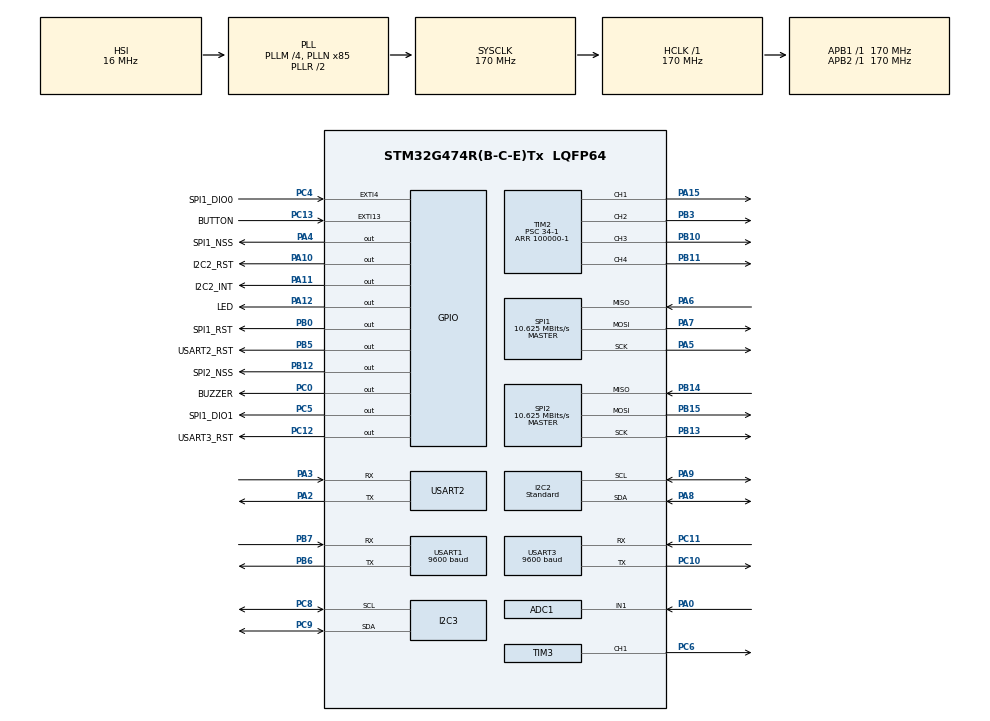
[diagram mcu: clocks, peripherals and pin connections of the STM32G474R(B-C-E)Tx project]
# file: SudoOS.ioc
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ADC1.NbrOfConversionFlag=1
ADC1.master=1
FATFS._MAX_SS=4096
FATFS._USE_LFN=2
FREERTOS.BinarySemaphores01=myBinarySem01,Dynamic,NULL
FREERTOS.Queues01=myQueue01,16,uint16_t,0,Dynamic,NULL,NULL
FREERTOS.Tasks01=motorControl,48,512,motorControlEntry,Default,NULL,Dynamic,NULL,NULL;runCommand,49,256,runCommandEntry,Default,NULL,Dynamic,NULL,NULL;sendToGround,24,512,sendToGroundEntry,Default,NULL,Dynamic,NULL,NULL;checkState,40,512,checkStateEntry,Default,NULL,Dynamic,NULL,NULL;someLoop,53,512,someLoopEntry,Default,NULL,Dynamic,NULL,NULL;sd_IO,54,1024,sd_IOEntry,Default,NULL,Dynamic,NULL,NULL
FREERTOS.configTOTAL_HEAP_SIZE=16000
FREERTOS.configUSE_NEWLIB_REENTRANT=1
I2C2.I2C_Speed_Mode=I2C_Standard
I2C2.Timing=0x30A0A7FB
I2C3.Timing=0x30A0A7FB
Mcu.Family=STM32G4
Mcu.Name=STM32G474R(B-C-E)Tx
Mcu.Package=LQFP64
NVIC.EXTI15_10_IRQn=true\:5\:0\:false\:false\:true\:true\:true\:true\:true
NVIC.I2C2_EV_IRQn=true\:5\:0\:false\:false\:true\:true\:true\:true\:true
NVIC.I2C3_EV_IRQn=true\:5\:0\:false\:false\:true\:true\:true\:true\:true
NVIC.PriorityGroup=NVIC_PRIORITYGROUP_4
NVIC.TIM6_DAC_IRQn=true\:15\:0\:false\:false\:true\:false\:false\:true\:true
NVIC.TimeBase=TIM6_DAC_IRQn
NVIC.TimeBaseIP=TIM6
NVIC.USART1_IRQn=true\:5\:0\:false\:false\:true\:true\:true\:true\:true
NVIC.USART2_IRQn=true\:5\:0\:false\:false\:true\:true\:true\:true\:true
NVIC.USART3_IRQn=true\:5\:0\:false\:false\:true\:true\:true\:true\:true
PA0.Mode=IN1-Single-Ended
PA0.Signal=ADC1_IN1
PA10.GPIO_Label=I2C2_RST
PA10.Signal=GPIO_Output
PA11.GPIO_Label=I2C2_INT
PA11.Signal=GPIO_Output
PA12.GPIO_Label=LED
PA12.Signal=GPIO_Output
PA13.Mode=Serial_Wire
PA13.Signal=SYS_JTMS-SWDIO
PA14.Mode=Serial_Wire
PA14.Signal=SYS_JTCK-SWCLK
PA15.Signal=S_TIM2_CH1
PA2.Mode=Asynchronous
PA2.Signal=USART2_TX
PA3.Mode=Asynchronous
PA3.Signal=USART2_RX
PA4.GPIO_Label=SPI1_NSS
PA4.PinState=GPIO_PIN_RESET
PA4.Signal=GPIO_Output
PA5.Mode=Full_Duplex_Master
PA5.Signal=SPI1_SCK
PA6.Mode=Full_Duplex_Master
PA6.Signal=SPI1_MISO
PA7.Mode=Full_Duplex_Master
PA7.Signal=SPI1_MOSI
PA8.Mode=I2C
PA8.Signal=I2C2_SDA
PA9.Mode=I2C
PA9.Signal=I2C2_SCL
PB0.GPIO_Label=SPI1_RST
PB0.PinState=GPIO_PIN_RESET
PB0.Signal=GPIO_Output
PB10.Signal=S_TIM2_CH3
PB11.Signal=S_TIM2_CH4
PB12.GPIO_Label=SPI2_NSS
PB12.Signal=GPIO_Output
PB13.Mode=Full_Duplex_Master
PB13.Signal=SPI2_SCK
PB14.Mode=Full_Duplex_Master
PB14.Signal=SPI2_MISO
PB15.Mode=Full_Duplex_Master
PB15.Signal=SPI2_MOSI
PB3.Signal=S_TIM2_CH2
PB5.GPIO_Label=USART2_RST
PB5.Signal=GPIO_Output
PB6.Mode=Asynchronous
PB6.Signal=USART1_TX
PB7.Mode=Asynchronous
PB7.Signal=USART1_RX
PC0.GPIO_Label=BUZZER
PC0.Signal=GPIO_Output
PC10.Mode=Asynchronous
PC10.Signal=USART3_TX
PC11.Mode=Asynchronous
PC11.Signal=USART3_RX
PC12.GPIO_Label=USART3_RST
PC12.Signal=GPIO_Output
PC13.GPIO_Label=BUTTON
PC13.Signal=GPXTI13
PC4.GPIO_Label=SPI1_DIO0
PC4.Signal=GPXTI4
PC5.GPIO_Label=SPI1_DIO1
PC5.Signal=GPIO_Output
PC6.Signal=S_TIM3_CH1
PC8.Mode=I2C
PC8.Signal=I2C3_SCL
PC9.Mode=I2C
PC9.Signal=I2C3_SDA
PF0-OSC_IN.Mode=HSE-External-Oscillator
PF0-OSC_IN.Signal=RCC_OSC_IN
PF1-OSC_OUT.Mode=HSE-External-Oscillator
PF1-OSC_OUT.Signal=RCC_OSC_OUT
ProjectManager.HeapSize=0x200
ProjectManager.StackSize=0x400
ProjectManager.TargetToolchain=STM32CubeIDE
RCC.ADC12Freq_Value=170000000
RCC.ADC345Freq_Value=170000000
RCC.AHBFreq_Value=170000000
RCC.APB1Freq_Value=170000000
RCC.APB1TimFreq_Value=170000000
RCC.APB2Freq_Value=170000000
RCC.APB2TimFreq_Value=170000000
RCC.CortexFreq_Value=170000000
RCC.EXTERNAL_CLOCK_VALUE=12288000
RCC.HCLKFreq_Value=170000000
RCC.HSE_VALUE=8000000
RCC.HSI48_VALUE=48000000
RCC.HSI_VALUE=16000000
RCC.LSE_VALUE=32768
RCC.PLLM=RCC_PLLM_DIV4
RCC.PLLN=85
RCC.SYSCLKFreq_VALUE=170000000
RCC.SYSCLKSource=RCC_SYSCLKSOURCE_PLLCLK
RCC.USBFreq_Value=170000000
RCC.VCOOutputFreq_Value=340000000
SH.S_TIM2_CH1.0=TIM2_CH1,PWM Generation1 CH1
SH.S_TIM2_CH2.0=TIM2_CH2,PWM Generation2 CH2
SH.S_TIM2_CH3.0=TIM2_CH3,PWM Generation3 CH3
SH.S_TIM2_CH4.0=TIM2_CH4,PWM Generation4 CH4
SH.S_TIM3_CH1.0=TIM3_CH1,PWM Generation1 CH1
SPI1.BaudRatePrescaler=SPI_BAUDRATEPRESCALER_16
SPI1.CalculateBaudRate=10.625 MBits/s
SPI1.DataSize=SPI_DATASIZE_8BIT
SPI1.Direction=SPI_DIRECTION_2LINES
SPI1.Mode=SPI_MODE_MASTER
SPI1.VirtualType=VM_MASTER
SPI2.BaudRatePrescaler=SPI_BAUDRATEPRESCALER_16
SPI2.CalculateBaudRate=10.625 MBits/s
SPI2.DataSize=SPI_DATASIZE_8BIT
SPI2.Direction=SPI_DIRECTION_2LINES
SPI2.Mode=SPI_MODE_MASTER
SPI2.VirtualType=VM_MASTER
TIM2.Channel-PWM\ Generation1\ CH1=TIM_CHANNEL_1
TIM2.Channel-PWM\ Generation2\ CH2=TIM_CHANNEL_2
TIM2.Channel-PWM\ Generation3\ CH3=TIM_CHANNEL_3
TIM2.Channel-PWM\ Generation4\ CH4=TIM_CHANNEL_4
TIM2.PeriodNoDither=100000-1
TIM2.Prescaler=34-1
TIM3.Channel-PWM\ Generation1\ CH1=TIM_CHANNEL_1
TIM3.PeriodNoDither=10000-1
TIM3.Prescaler=340-1
USART1.BaudRate=9600
USART1.VirtualMode-Asynchronous=VM_ASYNC
USART2.VirtualMode-Asynchronous=VM_ASYNC
USART3.BaudRate=9600
USART3.VirtualMode-Asynchronous=VM_ASYNC
VP_FATFS_VS_Generic.Mode=User_defined
VP_FREERTOS_VS_CMSIS_V2.Mode=CMSIS_V2
VP_SYS_VS_DBSignals.Mode=DisableDeadBatterySignals
VP_SYS_VS_tim6.Mode=TIM6
VP_TIM2_VS_ClockSourceINT.Mode=Internal
VP_TIM3_VS_ClockSourceINT.Mode=Internal
board=custom

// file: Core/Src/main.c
/* USER CODE BEGIN Header */

/*
            YILDIZ ROCKET TEAM
  SUDO Main Flight Control Computer

        Dogukan Yalcin
  Tolga Engin
*/

/* USER CODE END Header */
#include "main.h"

#include "adc.h"
#include "app_fatfs.h"
#include "cmsis_os.h"
#include "gpio.h"
#include "i2c.h"
#include "spi.h"
#include "tim.h"
#include "usart.h"

/* USER CODE BEGIN Includes */
#include "control.h"
#include "gps.h"
#include "string.h"
#include "system.h"
/* USER CODE END Includes */

void SystemClock_Config(void);
void MX_FREERTOS_Init(void);
/* USER CODE BEGIN PFP */

void HAL_I2C_MemRxCpltCallback(I2C_HandleTypeDef *hi2c) {
    if (hi2c->Instance == hi2c2.Instance) {
        /* BNO IT*/

        //  readIMU();
    } else if (hi2c->Instance == hi2c3.Instance) {
        /* BME IT*/

        readAltitude();
    }
}

uint8_t received_uart_byte;
uint8_t jei_receive_buffer[42];
uint8_t jei_receive_index = 0;
uint8_t jei_receive_flag = 0;

void HAL_UART_RxCpltCallback(UART_HandleTypeDef *huart) {
    if (huart->Instance == huart1.Instance) {
        /*  JEI IT */

        if (received_uart_byte == 'J') {
            jei_receive_flag = 1;
        }

        if (jei_receive_flag) {
            if (jei_receive_index < sizeof(jei_receive_buffer))
                jei_receive_buffer[jei_receive_index++] = received_uart_byte;

            if (received_uart_byte == 'T') {
                sscanf(jei_receive_buffer, "J, %f, %f, %f, %f, %f, T",
                       &jei.pressure, &jei.altitude, &jei.gpsAltitude,
                       &jei.latitude, &jei.longtitude);
                // memset(jei_receive_buffer, 0, sizeof(jei_receive_buffer));
                jei_receive_index = 0;
                jei_receive_flag = 0;
            }
        }

        HAL_UART_Receive_IT(&huart1, &received_uart_byte, 1);

    } else if (huart->Instance == huart3.Instance) {
        /* GPS IT */

        GPS_CallBack();
    } else if (huart->Instance == huart2.Instance) {
        /* LENNA IT */
        lenna.tranmissionPercentage = received_uart_byte;
        HAL_UART_Receive_IT(&huart2, &received_uart_byte, 1);
    }
}

void HAL_GPIO_EXTI_Callback(uint16_t GPIO_Pin) {
    if (GPIO_Pin == SPI1_DIO0_Pin) {
        /* LoRA EXTI */

        // loraRecevice();
    }

    else if (GPIO_Pin == BUTTON_Pin) {
        /* Button EXTI */

        // HAL_GPIO_TogglePin(BUZZER_GPIO_Port, BUZZER_Pin);
    }
}
/* USER CODE END PFP */

int main(void) {

    /* MCU
     * Configuration--------------------------------------------------------*/

    /* Reset of all peripherals, Initializes the Flash interface and the
     * Systick. */
    HAL_Init();

    /* Configure the system clock */
    SystemClock_Config();

    /* Initialize all configured peripherals */
    MX_GPIO_Init();
    MX_ADC1_Init();
    MX_TIM2_Init();
    MX_TIM3_Init();
    MX_USART1_UART_Init();
    MX_USART2_UART_Init();
    MX_I2C2_Init();
    MX_I2C3_Init();
    MX_SPI1_Init();
    MX_SPI2_Init();
    if (MX_FATFS_Init() != APP_OK) {
        Error_Handler();
    }
    MX_USART3_UART_Init();
    /* USER CODE BEGIN 2 */

    openingThemeSong(10);

    init_servo();
    init_esc();
    // calibrate_esc();
    init_control();

    initIMU();
    initGPS();
    initBarometer();
    initLoRa();
    GPS_Init();

    HAL_UART_Receive_IT(&huart1, &received_uart_byte, 1);
    // HAL_UART_Receive_IT(&huart2, &received_uart_byte, 1);

    led(1);
    openingThemeSong(500);

    /* USER CODE END 2 */

    /* Init scheduler */
    osKernelInitialize(); /* Call init function for freertos objects (in
                             freertos.c) */
    MX_FREERTOS_Init();

    /* Start scheduler */
    osKernelStart();

    /* We should never get here as control is now taken by the scheduler */
    /* Infinite loop */
    while (1) {

    }
}

void SystemClock_Config(void) {
    RCC_OscInitTypeDef RCC_OscInitStruct = {0};
    RCC_ClkInitTypeDef RCC_ClkInitStruct = {0};

    /** Configure the main internal regulator output voltage
     */
    HAL_PWREx_ControlVoltageScaling(PWR_REGULATOR_VOLTAGE_SCALE1_BOOST);

    /** Initializes the RCC Oscillators according to the specified parameters
     * in the RCC_OscInitTypeDef structure.
     */
    RCC_OscInitStruct.OscillatorType = RCC_OSCILLATORTYPE_HSI;
    RCC_OscInitStruct.HSIState = RCC_HSI_ON;
    RCC_OscInitStruct.HSICalibrationValue = RCC_HSICALIBRATION_DEFAULT;
    RCC_OscInitStruct.PLL.PLLState = RCC_PLL_ON;
    RCC_OscInitStruct.PLL.PLLSource = RCC_PLLSOURCE_HSI;
    RCC_OscInitStruct.PLL.PLLM = RCC_PLLM_DIV4;
    RCC_OscInitStruct.PLL.PLLN = 85;
    RCC_OscInitStruct.PLL.PLLP = RCC_PLLP_DIV2;
    RCC_OscInitStruct.PLL.PLLQ = RCC_PLLQ_DIV2;
    RCC_OscInitStruct.PLL.PLLR = RCC_PLLR_DIV2;
    if (HAL_RCC_OscConfig(&RCC_OscInitStruct) != HAL_OK) {
        Error_Handler();
    }

    /** Initializes the CPU, AHB and APB buses clocks
     */
    RCC_ClkInitStruct.ClockType = RCC_CLOCKTYPE_HCLK | RCC_CLOCKTYPE_SYSCLK |
                                  RCC_CLOCKTYPE_PCLK1 | RCC_CLOCKTYPE_PCLK2;
    RCC_ClkInitStruct.SYSCLKSource = RCC_SYSCLKSOURCE_PLLCLK;
    RCC_ClkInitStruct.AHBCLKDivider = RCC_SYSCLK_DIV1;
    RCC_ClkInitStruct.APB1CLKDivider = RCC_HCLK_DIV1;
    RCC_ClkInitStruct.APB2CLKDivider = RCC_HCLK_DIV1;

    if (HAL_RCC_ClockConfig(&RCC_ClkInitStruct, FLASH_LATENCY_4) != HAL_OK) {
        Error_Handler();
    }
}

/* USER CODE BEGIN 4 */
volatile uint8_t FatFsCnt = 0;
volatile uint16_t Timer1, Timer2;

void SDTimer_Handler(void) {
    if (Timer1 > 0) Timer1--;

    if (Timer2 > 0) Timer2--;
}

/* USER CODE END 4 */

void HAL_TIM_PeriodElapsedCallback(TIM_HandleTypeDef *htim) {
    if (htim->Instance == TIM6) {
        HAL_IncTick();
    }
    /* USER CODE BEGIN Callback 1 */
    if (htim->Instance == TIM6) {
        readTime();
    }
    /* USER CODE END Callback 1 */
}

void Error_Handler(void) {
    /* USER CODE BEGIN Error_Handler_Debug */
    /* User can add his own implementation to report the HAL error return state
     */
    __disable_irq();
    while (1) {
        led(0);
    }
    /* USER CODE END Error_Handler_Debug */
}

#ifdef USE_FULL_ASSERT
/**
 * @brief  Reports the name of the source file and the source line number
 *         where the assert_param error has occurred.
 * @param  file: pointer to the source file name
 * @param  line: assert_param error line source number
 * @retval None
 */
void assert_failed(uint8_t *file, uint32_t line) {
    /* USER CODE BEGIN 6 */
    /* User can add his own implementation to report the file name and line
       number, ex: printf("Wrong parameters value: file %s on line %d\r\n",
       file, line) */
    /* USER CODE END 6 */
}
#endif /* USE_FULL_ASSERT */

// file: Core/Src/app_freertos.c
/* USER CODE BEGIN Header */
/**
 ******************************************************************************
 * File Name          : app_freertos.c
 * Description        : Code for freertos applications
 ******************************************************************************
 * @attention
 *
 * Copyright (c) 2022 STMicroelectronics.
 * All rights reserved.
 *
 * This software is licensed under terms that can be found in the LICENSE file
 * in the root directory of this software component.
 * If no LICENSE file comes with this software, it is provided AS-IS.
 *
 ******************************************************************************
 */
/* USER CODE END Header */

#include "FreeRTOS.h"
#include "cmsis_os.h"
#include "main.h"
#include "task.h"

/* USER CODE BEGIN Includes */
#include "adc.h"
#include "bno055.h"
#include "checking.h"
#include "control.h"
#include "gps.h"
#include "system.h"
#include "usart.h"
/* USER CODE END Includes */

/* USER CODE BEGIN PTD */
uint8_t stringWithAllData[169];
float_to_u8 converter32;
float mag[3];
float prevMag[3];

void quaternionToEuler(float *q, float *euler);
/* USER CODE END PTD */

/* Definitions for motorControl */
osThreadId_t motorControlHandle;
const osThreadAttr_t motorControl_attributes = {
    .name = "motorControl",
    .priority = (osPriority_t)osPriorityRealtime,
    .stack_size = 512 * 4};
/* Definitions for runCommand */
osThreadId_t runCommandHandle;
const osThreadAttr_t runCommand_attributes = {
    .name = "runCommand",
    .priority = (osPriority_t)osPriorityRealtime1,
    .stack_size = 256 * 4};
/* Definitions for sendToGround */
osThreadId_t sendToGroundHandle;
const osThreadAttr_t sendToGround_attributes = {
    .name = "sendToGround",
    .priority = (osPriority_t)osPriorityNormal,
    .stack_size = 512 * 4};
/* Definitions for checkState */
osThreadId_t checkStateHandle;
const osThreadAttr_t checkState_attributes = {
    .name = "checkState",
    .priority = (osPriority_t)osPriorityHigh,
    .stack_size = 512 * 4};
/* Definitions for someLoop */
osThreadId_t someLoopHandle;
const osThreadAttr_t someLoop_attributes = {
    .name = "someLoop",
    .priority = (osPriority_t)osPriorityRealtime5,
    .stack_size = 512 * 4};
/* Definitions for sd_IO */
osThreadId_t sd_IOHandle;
const osThreadAttr_t sd_IO_attributes = {
    .name = "sd_IO",
    .priority = (osPriority_t)osPriorityRealtime6,
    .stack_size = 1024 * 4};
/* Definitions for myQueue01 */
osMessageQueueId_t myQueue01Handle;
const osMessageQueueAttr_t myQueue01_attributes = {.name = "myQueue01"};
/* Definitions for myBinarySem01 */
osSemaphoreId_t myBinarySem01Handle;
const osSemaphoreAttr_t myBinarySem01_attributes = {.name = "myBinarySem01"};

void motorControlEntry(void *argument);
void runCommandEntry(void *argument);
void sendToGroundEntry(void *argument);
void checkStateEntry(void *argument);
void someLoopEntry(void *argument);
void sd_IOEntry(void *argument);

void MX_FREERTOS_Init(void); /* (MISRA C 2004 rule 8.1) */

void MX_FREERTOS_Init(void) {

    /* Create the semaphores(s) */
    /* creation of myBinarySem01 */
    myBinarySem01Handle = osSemaphoreNew(1, 1, &myBinarySem01_attributes);

    /* Create the queue(s) */
    /* creation of myQueue01 */
    myQueue01Handle =
        osMessageQueueNew(16, sizeof(uint16_t), &myQueue01_attributes);

    /* Create the thread(s) */
    /* creation of motorControl */
    motorControlHandle =
        osThreadNew(motorControlEntry, NULL, &motorControl_attributes);

    /* creation of runCommand */
    runCommandHandle =
        osThreadNew(runCommandEntry, NULL, &runCommand_attributes);

    /* creation of sendToGround */
    sendToGroundHandle =
        osThreadNew(sendToGroundEntry, NULL, &sendToGround_attributes);

    /* creation of checkState */
    checkStateHandle =
        osThreadNew(checkStateEntry, NULL, &checkState_attributes);

    /* creation of someLoop */
    someLoopHandle = osThreadNew(someLoopEntry, NULL, &someLoop_attributes);

    /* creation of sd_IO */
    sd_IOHandle = osThreadNew(sd_IOEntry, NULL, &sd_IO_attributes);

}

void motorControlEntry(void *argument) {
    /* USER CODE BEGIN motorControlEntry */

    /* Infinite loop */
    for (;;) {
        switch (flightState) {
            case DEBUG_PROFILE_1:
                motor_control_debug();
                break;

            case START:
                // motor_control_debug();
                break;

            case AFTER_SEPARATION:
                motor_control(1, -7, -1);
                break;

            case STEADY:
                motor_control(1, -7, -1);
                break;

            case AFTER_200M:
                motor_control(1, -5, -1);
                break;

            case AFTER_2M:
                motor_control(1, -1, -1);
                break;

            case LANDED:
                motor_control(-1, 0, -1);
                break;

            default:
                // rip();
                break;
        }
        osDelay(1);
    }
    /* USER CODE END motorControlEntry */
}

void runCommandEntry(void *argument) {
    /* USER CODE BEGIN runCommandEntry */
    /* Infinite loop */
    for (;;) {
        /* Read data from buffer that came frome ground*/

        switch (loraReceiveBuffer[0]) {
            case BUZZER_ON:
                buzzer(1);
                break;

            case BUZZER_OFF:
                buzzer(0);
                break;

            default:
                break;
        }

        switch (loraReceiveBuffer[1]) {
            case SEPARATE:
                servo_separate();
                break;

            case REVERT:
                servo_revert();
                break;

            default:
                break;
        }

        switch (loraReceiveBuffer[2]) {
            case MOTOR_STOP:
                controlDebugState = STOP;

                pid_roll.Kp = 0;
                pid_roll.Ki = 0;
                pid_roll.Kd = 0;

                pid_pitch.Kp = 0;
                pid_pitch.Ki = 0;
                pid_pitch.Kd = 0;

                pid_roll.integrator = 0;
                pid_roll.prevError = 0;
                pid_roll.differentiator = 0;
                pid_roll.prevMeasurement = 0;
                pid_roll.out = 0;

                pid_pitch.integrator = 0;
                pid_pitch.prevError = 0;
                pid_pitch.differentiator = 0;
                pid_pitch.prevMeasurement = 0;
                pid_pitch.out = 0;

                break;

            case MOTOR_START_TEST:
                controlDebugState = START_TEST;
                break;

            case MOTOR_PID_TEST:

                controlDebugState = PID_TEST;

                switch (loraReceiveBuffer[3]) {
                    case 1:

                        converter32.u8[0] = loraReceiveBuffer[4];
                        converter32.u8[1] = loraReceiveBuffer[5];
                        converter32.u8[2] = loraReceiveBuffer[6];
                        converter32.u8[3] = loraReceiveBuffer[7];

                        if (converter32.u32 > 0) {
                            pid_roll.Kp = converter32.u32;
                            pid_pitch.Kp = converter32.u32;
                        }

                        break;

                    case 2:

                        converter32.u8[0] = loraReceiveBuffer[4];
                        converter32.u8[1] = loraReceiveBuffer[5];
                        converter32.u8[2] = loraReceiveBuffer[6];
                        converter32.u8[3] = loraReceiveBuffer[7];

                        if (converter32.u32 > 0) {
                            pid_roll.Ki = converter32.u32;
                            pid_pitch.Ki = converter32.u32;
                        }

                        break;

                    case 3:

                        converter32.u8[0] = loraReceiveBuffer[4];
                        converter32.u8[1] = loraReceiveBuffer[5];
                        converter32.u8[2] = loraReceiveBuffer[6];
                        converter32.u8[3] = loraReceiveBuffer[7];

                        if (converter32.u32 > 0) {
                            pid_roll.Kd = converter32.u32;
                            pid_pitch.Kd = converter32.u32;
                        }

                        break;

                    case 4:

                        switch (loraReceiveBuffer[4]) {
                            case 1:
                                if (loraReceiveBuffer[5] > 0)
                                    set_point_pitch = loraReceiveBuffer[5];
                                break;

                            case 2:
                                if (loraReceiveBuffer[5] > 0)
                                    set_point_roll = loraReceiveBuffer[5];
                                break;
                        }

                        break;
                }
                break;

            case MOTOR_QR_TEST:
                controlDebugState = QR_TEST;
                break;

            case MOTOR_INPUT_TEST:
                controlDebugState = INPUT_TEST;
                receivedDuty = loraReceiveBuffer[3];
                if (receivedDuty > 0) inputDuty = receivedDuty;
                break;

            default:
                break;
        }

        osDelay(100);
    }
    /* USER CODE END runCommandEntry */
}

void sendToGroundEntry(void *argument) {
    /* USER CODE BEGIN sendToGroundEntry */
    // initSD();

    /* Infinite loop */
    for (;;) {
        loraRecevice();
        createFullPacket();
        // writeSD(telemetryStrPacket);

        loraTransmit(transmitPacket, sizeof(transmitPacket));

        osDelay(10);
    }
    /* USER CODE END sendToGroundEntry */
}

void checkStateEntry(void *argument) {
    /* USER CODE BEGIN checkStateEntry */
    /* Infinite loop */
    for (;;) {
        switch (flightState) {
            case START:
                if (checkLiftoff() == 1) {
                    time.liftoffTime = time.current;
                    flightState = AFTER_LIFTOFF;
                }
                break;

            case AFTER_LIFTOFF:
                if (checkApogee() == 1) {
                    time.apogeeTime = time.current;
                    flightState = AFTER_APOGEE;
                }
                break;

            case AFTER_APOGEE:
                if (checkSeparationAltitude() == 1) {
                    servo_separate();
                    osDelay(WAIT_AFTER_SEPARATION_TIME_SECONDS * 1000);
                    flightState = AFTER_SEPARATION;
                }
                break;

            case AFTER_SEPARATION:
                if (checkSteadyAltitude() == 1) {
                    flightState = STEADY;
                }
                break;

            case STEADY:
                osDelay(STEADY_WAITING_TIME_SECONDS * 1000);
                flightState = AFTER_200M;
                break;

            case AFTER_200M:
                if (checkBeforeLanding() == 1) {
                    flightState = AFTER_2M;
                }
                break;

            case AFTER_2M:
                if (checkLanding() == 1) {
                    flightState = LANDED;
                }
                break;

            case LANDED:
                if (time.landingTime == 0.0f) {
                    time.landingTime = time.current;
                }
                osDelay(10000); /* TODO: Something for saving power*/
                break;

            default:
                // DEBUG_PROFILE_X
                break;
        }

        osDelay(2);
    }
    /* USER CODE END checkStateEntry */
}

void someLoopEntry(void *argument) {
    /* USER CODE BEGIN someLoopEntry */
    /* Infinite loop */
    for (;;) {
        HAL_UART_Receive_IT(&huart1, &received_uart_byte, 1);
        HAL_UART_Receive_IT(&huart2, &received_uart_byte, 1);

        led(1);
        osDelay(500);
        led(0);
        osDelay(500);
    }
    /* USER CODE END someLoopEntry */
}
uint8_t id = 0;
float heading;

#define PI 3.14159265358979323846f
#include "madgwick.h"
madgwick_handle_t madgwick_handle;
madgwick_quat_data_t quat_data;
#define MADGWICK_BETA 5.001f
#define MADGWICK_SAMPLE_RATE 100.0f
#define DEG2RAD 3.14f / 180.0f
char uart_tx_buffer[150];
void sd_IOEntry(void *argument) {
    /* USER CODE BEGIN sd_IOEntry */
    //    initSD();
    madgwick_cfg_t madgwick_cfg;
    madgwick_cfg.beta = MADGWICK_BETA;
    madgwick_cfg.sample_freq = MADGWICK_SAMPLE_RATE;
    madgwick_handle = madgwick_init(&madgwick_cfg);

    /* Infinite loop */
    for (;;) {
        float xyz[3];
        bno055_get_Accel_XYZ(xyz);
        accel.x = xyz[0];
        accel.y = xyz[1];
        accel.z = xyz[2];

        bno055_get_Gyro_XYZ(xyz);
        gyro.x = xyz[0];
        gyro.y = xyz[1];
        gyro.z = xyz[2];

        bno055_get_Mag_XYZ(xyz);
        mag[0] = xyz[0];
        mag[1] = xyz[1];
        mag[2] = xyz[2];

        // convert mag data to heading
        heading = 90 - atan2(mag[1], mag[0]) * 180 / PI;

        accel.prev_x = accel.x;
        accel.prev_y = accel.y;
        accel.prev_z = accel.z;
        gyro.prev_x = gyro.x;
        gyro.prev_y = gyro.y;
        gyro.prev_z = gyro.z;
        prevMag[0] = mag[0];
        prevMag[1] = mag[1];
        prevMag[2] = mag[2];

        madgwick_update_9dof(madgwick_handle, gyro.x * DEG2RAD,
                             gyro.y * DEG2RAD, gyro.z * DEG2RAD, accel.x,
                             accel.y, accel.z, mag[0], mag[1], mag[2]);
        madgwick_get_quaternion(madgwick_handle, &quat_data);

        float euler[3];
        float q[4];
        q[0] = quat_data.q0;
        q[1] = quat_data.q1;
        q[2] = quat_data.q2;
        q[3] = quat_data.q3;
        quaternionToEuler(q, euler);

        osDelay(10);
    }
    /* USER CODE END sd_IOEntry */
}

/* USER CODE BEGIN Application */
void quaternionToEuler(float *q, float *euler) {
    float sinr_cosp = 2 * (q[0] * q[1] + q[2] * q[3]);
    float cosr_cosp = 1 - 2 * (q[1] * q[1] + q[2] * q[2]);
    euler[0] = atan2(sinr_cosp, cosr_cosp);
    euler[0] = euler[0] * 180 / M_PI;

    float sinp = 2 * (q[0] * q[2] - q[3] * q[1]);
    if (fabs(sinp) >= 1)
        euler[1] =
            copysign(M_PI / 2, sinp); /* use 90 degrees if out of range */
    else
        euler[1] = asin(sinp);
    euler[1] = euler[1] * 180 / M_PI;

    float siny_cosp = 2 * (q[0] * q[3] + q[1] * q[2]);
    float cosy_cosp = 1 - 2 * (q[2] * q[2] + q[3] * q[3]);
    euler[2] = atan2(siny_cosp, cosy_cosp);

    // yaw 0-360
    if (euler[2] < 0) {
        euler[2] += 2 * M_PI;
    }
    euler[2] = euler[2] * 180 / M_PI;
}

void quaternionToEuler2(float *q, float *euler) {
    roll = asinf(-2.0f * (q[1] * q[3] - q[0] * q[2]));
    pitch = atan2f(q[0] * q[1] + q[2] * q[3], 0.5f - q[1] * q[1] - q[2] * q[2]);
    yaw = atan2f(q[1] * q[2] + q[0] * q[3], 0.5f - q[2] * q[2] - q[3] * q[3]);
}
/* USER CODE END Application */
